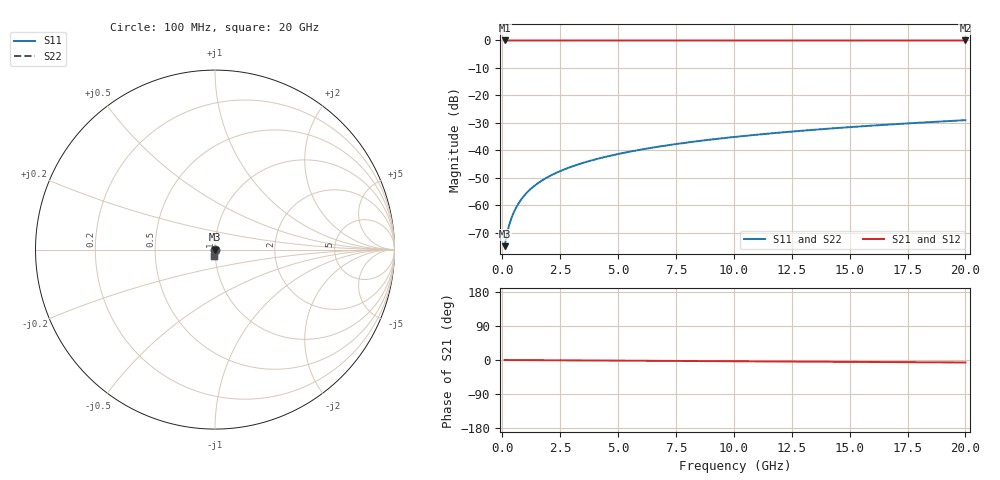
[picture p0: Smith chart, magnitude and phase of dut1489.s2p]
! Touchstone file exported from HFSS 2026.1.0
!  File:  C:/ffzhzh/LocalFiles/Ansys_Project_Files/temp_train_TSV_1489_1783198750_43440.aedt
!  Generated:  05:00:32 AM Jul  5, 2026
!  Design:  TSV
!  Project:  temp_train_TSV_1489_1783198750_43440
! Variables:
!  h_bsmrdl = 2um
!  h_ox = 20um
!  h_rdl = 5um
!  h_sub = 64.76um
!  h_tmrdl = 5um
!  h_tsv = 64.76um
!  h_via = 3um
!  l_bsmrdl = 300um
!  l_sub = 419.48um
!  l_tmrdl = 200um
!  m_sub = 200um
!  pitch = 29.55um
!  r_tsv = 9.74um
!  s_tmrdl = 10um
!  w_bsmrdl = 18um
!  w_sub = 500um
!  w_tmrdl = 12um
!  x_tsv_center1 = 206um
!  x_tsv_center2 = 524um
!  x_tsv_center3 = 736um
!  x_tsv_center4 = 1054um
!  x_tsv_center5 = 1266um
!  x_tsv_center6 = 1584um
# GHz S MA R 50.000000
! Terminal data exported
! Port[1] = TSV1_1_T1
! Port[2] = TSV1_1_T2
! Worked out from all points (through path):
!   200 points, 100 MHz to 20 GHz, reference 50 ohm
!   highest |S21| = 0.00 dB at 100 MHz (marker M1); lowest = 0.0 dB at 20 GHz (marker M2)
!   lowest |S11| = -74.9 dB at 100 MHz (marker M3), VSWR 1.00, Z = 50 - j0.0133 ohm
!   |S11| at or under -10 dB: start of sweep to end of sweep
!   |S22| runs from -74.9 to -29.0 dB; largest |S21 - S12| = 3e-15
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0.1  0.0001799 -47.8  0.9999 -0.0  0.9999 -0.0  0.0001799 -47.8
! Gamma 0 0 0 0
! Port Impedance 50 0 50 0
0.2  0.0003018 -63.5  0.9999 -0.1  0.9999 -0.1  0.0003018 -63.5
0.3  0.0004411 -69.5  0.9998 -0.1  0.9998 -0.1  0.0004411 -69.5
0.4  0.0005906 -72.5  0.9998 -0.1  0.9998 -0.1  0.0005906 -72.5
0.5  0.0007476 -74.4  0.9998 -0.2  0.9998 -0.2  0.0007476 -74.4
0.6  0.0009102 -75.8  0.9998 -0.2  0.9998 -0.2  0.0009102 -75.8
0.8  0.001246 -77.9  0.9997 -0.3  0.9997 -0.3  0.001246 -77.9
1.1  0.001761 -80.1  0.9997 -0.4  0.9997 -0.4  0.001761 -80.1
1.3  0.002107 -81.2  0.9997 -0.4  0.9997 -0.4  0.002107 -81.2
1.5  0.002454 -82.1  0.9996 -0.5  0.9996 -0.5  0.002454 -82.1
1.8  0.002974 -83.1  0.9996 -0.6  0.9996 -0.6  0.002974 -83.1
2.1  0.003494 -84.0  0.9996 -0.7  0.9996 -0.7  0.003494 -84.0
2.7  0.004535 -85.2  0.9995 -0.9  0.9995 -0.9  0.004535 -85.2
3.5  0.005929 -86.2  0.9995 -1.2  0.9995 -1.2  0.005929 -86.2
4.2  0.007156 -86.9  0.9994 -1.4  0.9994 -1.4  0.007156 -86.9
5  0.008565 -87.5  0.9993 -1.7  0.9993 -1.7  0.008565 -87.5
6.8  0.01176 -88.7  0.9992 -2.3  0.9992 -2.3  0.01176 -88.7
8.3  0.01443 -89.6  0.9991 -2.7  0.9991 -2.7  0.01443 -89.6
10.1  0.01765 -90.5  0.999 -3.3  0.999 -3.3  0.01765 -90.5
13.4  0.02355 -91.9  0.9987 -4.4  0.9987 -4.4  0.02355 -91.9
16.7  0.02947 -93.3  0.9984 -5.5  0.9984 -5.5  0.02947 -93.3
20  0.03539 -94.5  0.9981 -6.6  0.9981 -6.6  0.03539 -94.5
